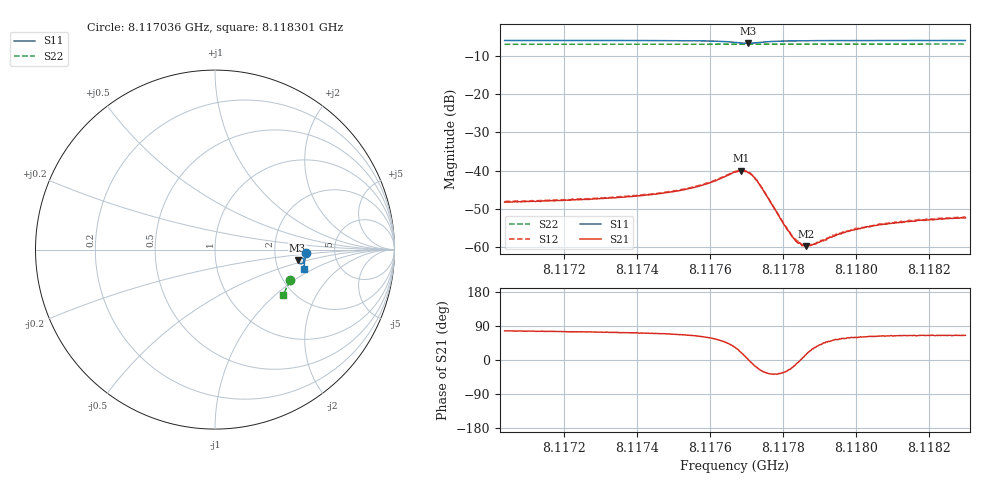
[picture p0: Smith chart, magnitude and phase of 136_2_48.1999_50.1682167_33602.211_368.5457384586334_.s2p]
#  HZ  S  RI  R  50.00
! Rohde & Schwarz Vector Network Analyzer
! Rohde-Schwarz,ZNB20-2Port,1311601062101988,3.16
! Created: UTC 3/20/2024, 11:42:07 AM
! freq[Hz]  re:S11  im:S11  re:S21  im:S21  re:S12  im:S12  re:S22  im:S22
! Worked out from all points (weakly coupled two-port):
!   401 points, 8.117036 GHz to 8.118301 GHz, reference 50 ohm
!   highest |S21| = -39.98 dB at 8.117684 GHz (marker M1); lowest = -59.8 dB at 8.117864 GHz (marker M2)
!   lowest |S11| = -6.7 dB at 8.117703 GHz (marker M3), VSWR 2.73, Z = 133 - j20.3 ohm
!   |S11| at or under -10 dB: nowhere
!   |S22| runs from -6.9 to -6.8 dB; largest |S21 - S12| = 0.00035
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8.1170358e9  0.5057 -0.0198  0.00088 0.00376  0.000948 0.0038  0.4168 -0.1719
8.1172477e9  0.5043 -0.037  0.00112 0.004  0.0012 0.00411  0.4113 -0.1858
8.1173647e9  0.5027 -0.047  0.00139 0.00429  0.00144 0.00437  0.4084 -0.1933
8.1174595e9  0.501 -0.056  0.00175 0.00469  0.00181 0.00474  0.4054 -0.1995
8.1175228e9  0.4987 -0.0631  0.00221 0.0051  0.00228 0.00521  0.4037 -0.2035
8.1175734e9  0.4953 -0.0695  0.00297 0.00561  0.00306 0.00572  0.402 -0.207
8.1176113e9  0.4902 -0.0752  0.00408 0.00603  0.00421 0.00612  0.4007 -0.2093
8.1176683e9  0.4712 -0.0781  0.00795 0.0053  0.00821 0.00522  0.3981 -0.2127
8.1176841e9  0.4638 -0.0727  0.00938 0.00352  0.00953 0.00349  0.3975 -0.2132
8.1177031e9  0.4604 -0.0599  0.00948 0.000432  0.00972 0.000333  0.3969 -0.2139
8.1177157e9  0.4638 -0.0514  0.00859 -0.00142  0.00862 -0.00156  0.3969 -0.2141
8.1177347e9  0.474 -0.0451  0.00608 -0.00279  0.00609 -0.0029  0.3967 -0.2152
8.1178074e9  0.4951 -0.0557  0.00159 -0.00094  0.00159 -0.000943  0.3953 -0.2203
8.1178296e9  0.4967 -0.0596  0.00125 -0.000368  0.00123 -0.000386  0.3948 -0.2217
8.1178485e9  0.4977 -0.0627  0.0011 1.03e-05  0.00111 -8.33e-08  0.3942 -0.223
8.1178644e9  0.498 -0.065  0.000992 0.000266  0.000998 0.000234  0.3938 -0.2241
8.1178802e9  0.4983 -0.0672  0.000924 0.000525  0.000946 0.000489  0.3933 -0.2252
8.1179466e9  0.4985 -0.075  0.000843 0.00115  0.000872 0.00119  0.391 -0.2294
8.1179814e9  0.4983 -0.0785  0.00085 0.00138  0.000844 0.00139  0.3898 -0.2314
8.1180921e9  0.497 -0.0886  0.000913 0.00181  0.000925 0.00184  0.3861 -0.2383
8.1181743e9  0.4959 -0.0956  0.00095 0.00202  0.00102 0.00206  0.3833 -0.2434
8.1183008e9  0.4939 -0.1056  0.00101 0.00219  0.00107 0.00222  0.3788 -0.251
